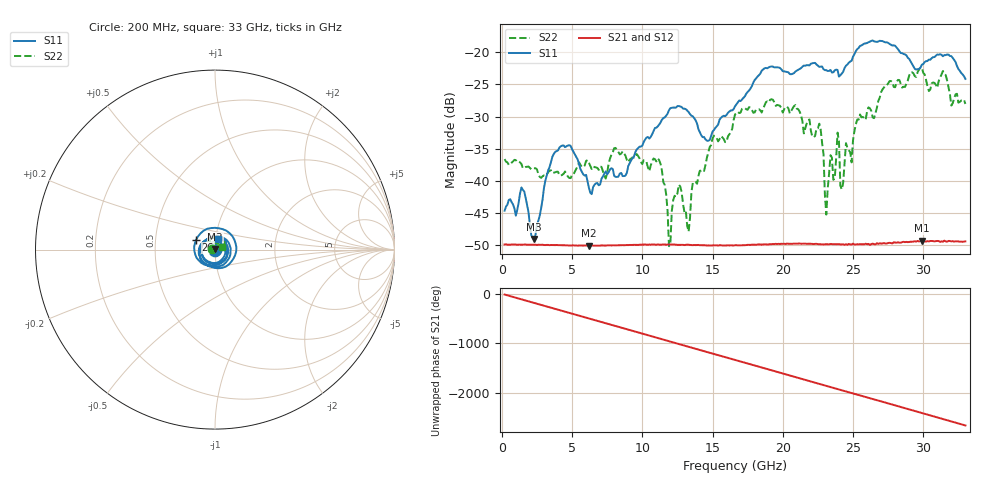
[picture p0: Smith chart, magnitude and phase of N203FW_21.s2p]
# GHZ S RI R 50
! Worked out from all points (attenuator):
!   329 points, 200 MHz to 33 GHz, reference 50 ohm
!   highest |S21| = -49.34 dB at 29.9 GHz (marker M1); lowest = -50.1 dB at 6.2 GHz (marker M2)
!   lowest |S11| = -49.1 dB at 2.3 GHz (marker M3), VSWR 1.01, Z = 50.1 + j0.335 ohm
!   |S11| at or under -10 dB: start of sweep to end of sweep
!   |S22| runs from -50.2 to -22.4 dB; largest |S21 - S12| = 8.8e-05
!   S11 on the Smith chart (normalised r, x): 200 MHz: 1.01, +0.00; 26 GHz: 0.81, +0.09; 33 GHz: 1.03, +0.12
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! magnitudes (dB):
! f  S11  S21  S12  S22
! 200 MHz  -44.7  -49.9  -49.9  -36.6
! 1.4 GHz  -41.1  -50.0  -50.0  -37.4
! 2.3 GHz  -49.1  -50.0  -50.0  -38.1
! 3.8 GHz  -35.5  -50.0  -50.0  -38.7
! 5.7 GHz  -38.6  -50.1  -50.1  -37.9
! 6.2 GHz  -41.1  -50.1  -50.1  -37.2
! 11.2 GHz  -31.3  -50.0  -50.0  -36.8
! 11.9 GHz  -29.0  -50.0  -49.9  -50.2
! 12.6 GHz  -28.4  -50.0  -50.0  -40.6
! 13.3 GHz  -29.3  -50.0  -50.0  -47.9
! 13.6 GHz  -30.0  -50.1  -50.0  -40.3
! 16.6 GHz  -28.4  -50.1  -50.1  -29.7
! 22.1 GHz  -21.7  -49.9  -49.8  -33.1
! 22.7 GHz  -22.2  -49.9  -49.9  -32.1
! 23.1 GHz  -22.8  -49.9  -49.9  -45.3
! 23.9 GHz  -22.7  -49.9  -49.9  -32.5
! 24.2 GHz  -23.3  -49.9  -49.9  -41.4
! 24.5 GHz  -22.1  -49.9  -49.9  -34.2
! 26 GHz  -18.5  -49.9  -49.9  -29.2
! 27.6 GHz  -18.7  -49.7  -49.7  -24.5
! 29.9 GHz  -21.9  -49.3  -49.5  -22.4
! 33 GHz  -24.1  -49.5  -49.5  -28.0
